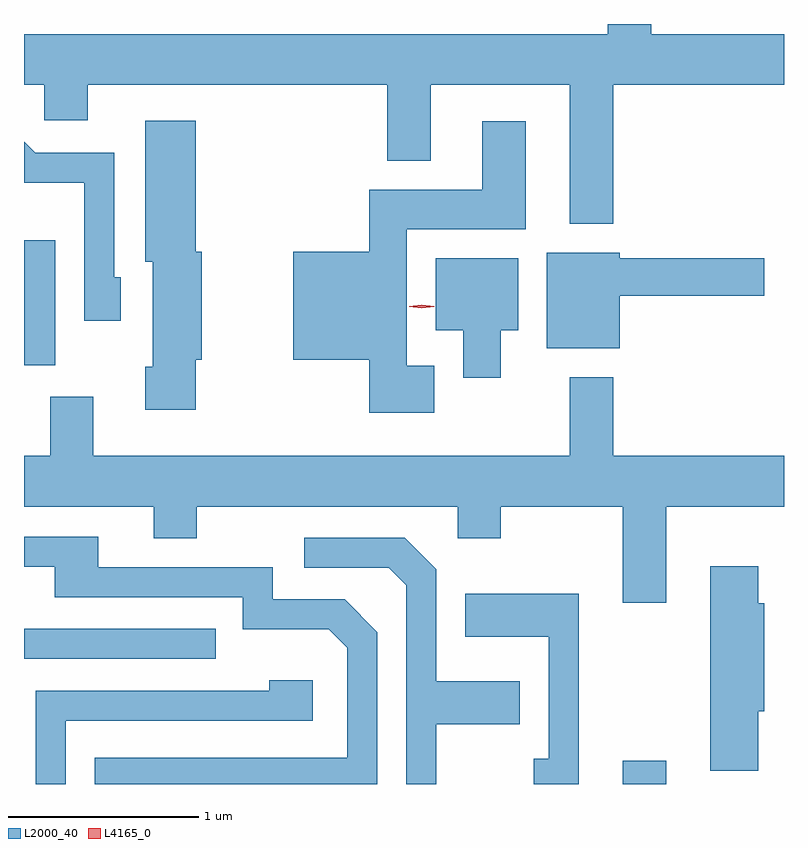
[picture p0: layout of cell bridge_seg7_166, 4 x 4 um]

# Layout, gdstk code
import gdstk
lib = gdstk.Library(unit=1e-6, precision=1e-09)
def R(c, l, rs):  # rectangles x0, y0, x1, y1
    for r in rs: c.add(gdstk.rectangle(r[:2], r[2:], *l))
def P(c, l, *ps):  # polygons
    for p in ps: c.add(gdstk.Polygon(p, *l))
L2000_40 = (2000, 40)
L4165_0 = (4165, 0)

bridge_seg7_166 = lib.new_cell('bridge_seg7_166')
R(bridge_seg7_166, L2000_40, [(1641.501,1719.517,1641.729,1719.639), (1638.349,1720.176,1639.358,1720.334), (1638.349,1721.721,1638.514,1722.379)])
P(bridge_seg7_166, L2000_40, [(1641.449,1723.196),(1642.349,1723.196),(1642.349,1723.464),(1641.649,1723.464),(1641.649,1723.517),(1641.421,1723.517),(1641.421,1723.464),(1638.349,1723.464),(1638.349,1723.196),(1638.456,1723.196),(1638.456,1723.011),(1638.684,1723.011),(1638.684,1723.196),(1640.261,1723.196),(1640.261,1722.796),(1640.489,1722.796),(1640.489,1723.196),(1641.221,1723.196),(1641.221,1722.466),(1641.449,1722.466)],
  [(1639.254,1721.751),(1639.284,1721.751),(1639.284,1722.319),(1639.254,1722.319),(1639.254,1723.009),(1638.986,1723.009),(1638.986,1722.266),(1639.026,1722.266),(1639.026,1721.714),(1638.986,1721.714),(1638.986,1721.486),(1639.254,1721.486)],
  [(1640.509,1721.719),(1640.364,1721.719),(1640.364,1722.436),(1640.989,1722.436),(1640.989,1723.004),(1640.761,1723.004),(1640.761,1722.644),(1640.166,1722.644),(1640.166,1722.319),(1639.766,1722.319),(1639.766,1721.751),(1640.166,1721.751),(1640.166,1721.471),(1640.509,1721.471)],
  [(1638.859,1722.184),(1638.824,1722.184),(1638.824,1722.839),(1638.407,1722.839),(1638.349,1722.897),(1638.349,1722.681),(1638.666,1722.681),(1638.666,1721.956),(1638.859,1721.956)],
  [(1641.484,1722.086),(1642.244,1722.086),(1642.244,1722.284),(1641.484,1722.284),(1641.484,1722.314),(1641.101,1722.314),(1641.101,1721.811),(1641.484,1721.811)],
  [(1640.859,1721.906),(1640.949,1721.906),(1640.949,1722.284),(1640.516,1722.284),(1640.516,1721.906),(1640.661,1721.906),(1640.661,1721.656),(1640.859,1721.656)],
  [(1641.729,1720.976),(1642.349,1720.976),(1642.349,1721.244),(1641.449,1721.244),(1641.449,1721.659),(1641.221,1721.659),(1641.221,1721.244),(1638.714,1721.244),(1638.714,1721.554),(1638.486,1721.554),(1638.486,1721.244),(1638.349,1721.244),(1638.349,1720.976),(1639.031,1720.976),(1639.031,1720.811),(1639.259,1720.811),(1639.259,1720.976),(1640.631,1720.976),(1640.631,1720.811),(1640.859,1720.811),(1640.859,1720.976),(1641.501,1720.976),(1641.501,1720.471),(1641.729,1720.471)],
  [(1640.209,1720.317),(1640.037,1720.489),(1639.659,1720.489),(1639.659,1720.659),(1638.739,1720.659),(1638.739,1720.819),(1638.349,1720.819),(1638.349,1720.661),(1638.511,1720.661),(1638.511,1720.501),(1639.501,1720.501),(1639.501,1720.331),(1639.954,1720.331),(1640.051,1720.234),(1640.051,1719.654),(1638.721,1719.654),(1638.721,1719.517),(1640.209,1719.517)],
  [(1640.519,1719.831),(1640.959,1719.831),(1640.959,1720.059),(1640.519,1720.059),(1640.519,1720.647),(1640.352,1720.814),(1639.823,1720.814),(1639.823,1720.656),(1640.269,1720.656),(1640.361,1720.564),(1640.361,1719.517),(1640.519,1719.517)],
  [(1642.214,1719.901),(1642.244,1719.901),(1642.244,1720.469),(1642.214,1720.469),(1642.214,1720.664),(1641.961,1720.664),(1641.961,1719.586),(1642.214,1719.586)],
  [(1641.269,1720.519),(1640.671,1720.519),(1640.671,1720.291),(1641.111,1720.291),(1641.111,1719.649),(1641.033,1719.649),(1641.033,1719.517),(1641.269,1719.517)],
  [(1638.569,1719.851),(1639.869,1719.851),(1639.869,1720.064),(1639.641,1720.064),(1639.641,1720.009),(1638.411,1720.009),(1638.411,1719.517),(1638.569,1719.517)])
P(bridge_seg7_166, L4165_0, [(1640.442,1722.02),(1640.376,1722.03),(1640.376,1722.03),(1640.376,1722.031),(1640.442,1722.04),(1640.507,1722.031),(1640.508,1722.03),(1640.507,1722.03)])

lib.write_gds('bridge_seg7_166.gds')
